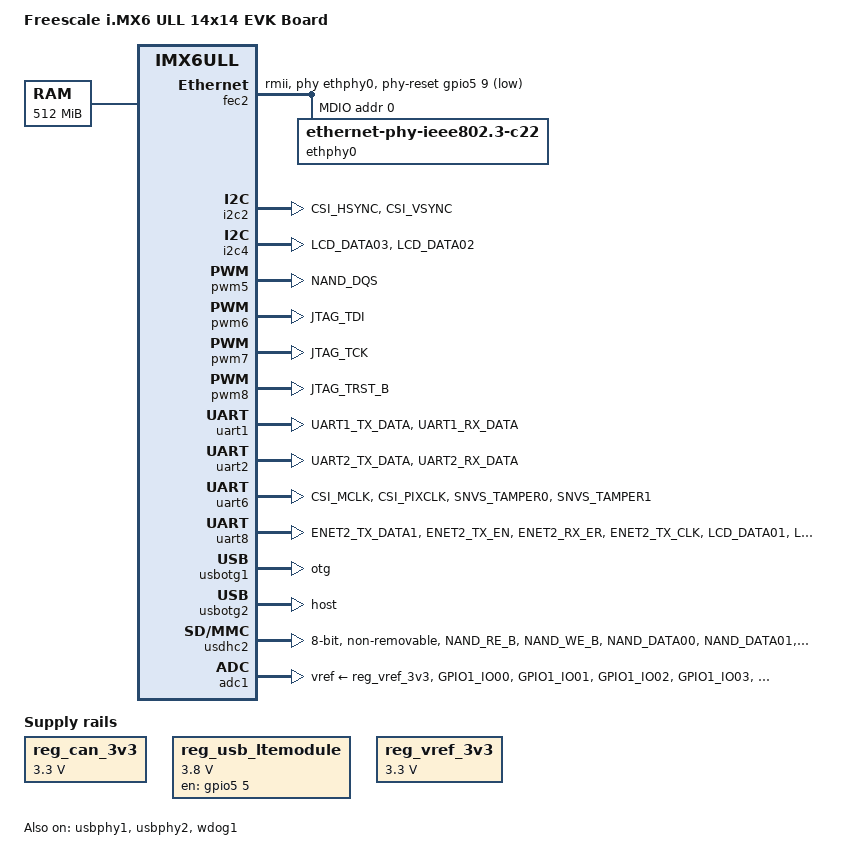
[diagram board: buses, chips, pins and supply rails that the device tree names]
// SPDX-License-Identifier: (GPL-2.0 OR MIT)
//
// Copyright (C) 2016 Freescale Semiconductor, Inc.


/dts-v1/;

#include "imx6ull.dtsi"

/ {
	model = "Freescale i.MX6 ULL 14x14 EVK Board";
	compatible = "fsl,imx6ull-14x14-evk", "fsl,imx6ull";

	chosen {
		stdout-path = &uart1;
	};

	memory {
		reg = <0x80000000 0x20000000>;   /* 512M */
	};

	reserved-memory {
		#address-cells = <1>;
		#size-cells = <1>;
		ranges;

		linux,cma {
			compatible = "shared-dma-pool";
			reusable;
			size = <0x14000000>;
			linux,cma-default;
		};
	};

	regulators {
		compatible = "simple-bus";
		#address-cells = <1>;
		#size-cells = <0>;

		reg_can_3v3: regulator@0 {
			compatible = "regulator-fixed";
			reg = <0>;
			regulator-name = "can-3v3";
			regulator-min-microvolt = <3300000>;
			regulator-max-microvolt = <3300000>;
		};

		reg_usb_ltemodule: regulator@1 {
			compatible = "regulator-fixed";
			regulator-name = "ltemodule-pwr";
			regulator-min-microvolt = <3800000>;
			regulator-max-microvolt = <3800000>;
			gpios = <&gpio5 5 GPIO_ACTIVE_HIGH>;
			enable-active-high;
			regulator-boot-on;
		};

		reg_vref_3v3: regulator@3 {
			compatible = "regulator-fixed";
			regulator-name = "vref-3v3";
			regulator-min-microvolt = <3300000>;
			regulator-max-microvolt = <3300000>;
		};
	};
};

&cpu0 {
	clock-frequency = <900000000>;
	arm-supply = <&reg_arm>;
	soc-supply = <&reg_soc>;
};

&fec2 {
	pinctrl-names = "default";
	pinctrl-0 = <&pinctrl_enet1>;
	phy-mode = "rmii";
	phy-handle = <&ethphy0>;
	phy-reset-gpios = <&gpio5 9 GPIO_ACTIVE_LOW>;
	phy-reset-duration = <26>;
	status = "okay";

	mdio {
		#address-cells = <1>;
		#size-cells = <0>;

		ethphy0: ethernet-phy@0 {
			compatible = "ethernet-phy-ieee802.3-c22";
			smsc,disable-energy-detect;
			reg = <0>;
		};

	};
};


&gpc {
	fsl,cpu_pupscr_sw2iso = <0x1>;
	fsl,cpu_pupscr_sw = <0x0>;
	fsl,cpu_pdnscr_iso2sw = <0x1>;
	fsl,cpu_pdnscr_iso = <0x1>;
	fsl,ldo-bypass = <0>; /* DCDC, ldo-enable */
};

&i2c2 {
	clock_frequency = <100000>;
	pinctrl-names = "default";
	pinctrl-0 = <&pinctrl_i2c2>;
	status = "okay";
};

&i2c4 {
	clock_frequency = <100000>;
	pinctrl-names = "default";
	pinctrl-0 = <&pinctrl_i2c4>;
	status = "okay";
};

&iomuxc {
	pinctrl-names = "default";
	pinctrl-0 = <&pinctrl_hog_1>;
	imx6ul-evk { 
		pinctrl_adc1: adc1grp {
			fsl,pins = <
				MX6UL_PAD_GPIO1_IO00__GPIO1_IO00        0xb0
				MX6UL_PAD_GPIO1_IO01__GPIO1_IO01        0xb0
				MX6UL_PAD_GPIO1_IO02__GPIO1_IO02        0xb0
				MX6UL_PAD_GPIO1_IO03__GPIO1_IO03        0xb0
				MX6UL_PAD_GPIO1_IO04__GPIO1_IO04        0xb0
				MX6UL_PAD_GPIO1_IO05__GPIO1_IO05        0xb0
				MX6UL_PAD_GPIO1_IO08__GPIO1_IO08        0xb0
				MX6UL_PAD_GPIO1_IO09__GPIO1_IO09        0xb0
			>;
		};

		pinctrl_hog_1: hoggrp-1 {
			fsl,pins = <
		        MX6UL_PAD_CSI_DATA01__GPIO4_IO22          0xC0000000
				MX6UL_PAD_CSI_DATA03__GPIO4_IO24          0xC0000000
				MX6UL_PAD_CSI_DATA04__GPIO4_IO25          0xC0000000
				MX6UL_PAD_CSI_DATA05__GPIO4_IO26          0xC0000000
				MX6UL_PAD_CSI_DATA06__GPIO4_IO27          0xC0000000
				MX6UL_PAD_CSI_DATA07__GPIO4_IO28          0xC0000000
				MX6UL_PAD_ENET2_RX_DATA1__GPIO2_IO09      0xC0000000
				MX6UL_PAD_ENET2_RX_EN__GPIO2_IO10         0xC0000000
				MX6UL_PAD_ENET2_TX_DATA0__GPIO2_IO11      0xC0000000
				MX6UL_PAD_LCD_CLK__GPIO3_IO00             0xC0000000
				MX6UL_PAD_LCD_ENABLE__GPIO3_IO01          0xC0000000
				MX6UL_PAD_SD1_CLK__GPIO2_IO17             0xC0000000
				MX6UL_PAD_SD1_CMD__GPIO2_IO16             0xC0000000
				MX6UL_PAD_SD1_DATA0__GPIO2_IO18           0xC0000000
				MX6UL_PAD_SD1_DATA1__GPIO2_IO19           0xC0000000
				MX6UL_PAD_UART1_CTS_B__GPIO1_IO18         0xC0000000
				MX6UL_PAD_UART1_RTS_B__GPIO1_IO19         0xC0000000
				MX6UL_PAD_UART2_CTS_B__GPIO1_IO22         0xC0000000
				MX6UL_PAD_UART3_RX_DATA__GPIO1_IO25       0xC0000000
				MX6UL_PAD_UART3_TX_DATA__GPIO1_IO24       0xC0000000
				MX6UL_PAD_UART4_RX_DATA__GPIO1_IO29       0xC0000000
				MX6UL_PAD_UART4_TX_DATA__GPIO1_IO28       0xC0000000
				MX6UL_PAD_UART5_RX_DATA__GPIO1_IO31       0xC0000000
				MX6UL_PAD_UART5_TX_DATA__GPIO1_IO30       0xC0000000
				MX6UL_PAD_SNVS_TAMPER2__GPIO5_IO02        0x000110A0
                MX6UL_PAD_SNVS_TAMPER3__GPIO5_IO03        0x000110A0
 			>;
		};

		pinctrl_csi1: csi1grp {
			fsl,pins = <
				MX6UL_PAD_CSI_MCLK__CSI_MCLK		0x1b088
				MX6UL_PAD_CSI_PIXCLK__CSI_PIXCLK	0x1b088
				MX6UL_PAD_CSI_VSYNC__CSI_VSYNC		0x1b088
				MX6UL_PAD_CSI_HSYNC__CSI_HSYNC		0x1b088
				MX6UL_PAD_CSI_DATA00__CSI_DATA02	0x1b088
				MX6UL_PAD_CSI_DATA01__CSI_DATA03	0x1b088
				MX6UL_PAD_CSI_DATA02__CSI_DATA04	0x1b088
				MX6UL_PAD_CSI_DATA03__CSI_DATA05	0x1b088
				MX6UL_PAD_CSI_DATA04__CSI_DATA06	0x1b088
				MX6UL_PAD_CSI_DATA05__CSI_DATA07	0x1b088
				MX6UL_PAD_CSI_DATA06__CSI_DATA08	0x1b088
				MX6UL_PAD_CSI_DATA07__CSI_DATA09	0x1b088
			>;
		};

		pinctrl_enet2: enet2grp {
			fsl,pins = <
				MX6UL_PAD_ENET2_RX_EN__ENET2_RX_EN	0x1b0b0
				MX6UL_PAD_ENET2_RX_ER__ENET2_RX_ER	0x1b0b0
				MX6UL_PAD_ENET2_RX_DATA0__ENET2_RDATA00	0x1b0b0
				MX6UL_PAD_ENET2_RX_DATA1__ENET2_RDATA01	0x1b0b0
				MX6UL_PAD_ENET2_TX_EN__ENET2_TX_EN	0x1b0b0
				MX6UL_PAD_ENET2_TX_DATA0__ENET2_TDATA00	0x1b0b0
				MX6UL_PAD_ENET2_TX_DATA1__ENET2_TDATA01	0x1b0b0
				MX6UL_PAD_ENET2_TX_CLK__ENET2_REF_CLK1	0x4001b031
			>;
		};

		pinctrl_i2c2: i2c2grp {
			fsl,pins = <
				MX6UL_PAD_CSI_HSYNC__I2C2_SCL 0x4001b8b0
				MX6UL_PAD_CSI_VSYNC__I2C2_SDA 0x4001b8b0
			>;
		};

		pinctrl_i2c4: i2c4grp {               /* /dev/i3c-3  for LIS3DHTR*/
			fsl,pins = <
				MX6UL_PAD_LCD_DATA03__I2C4_SCL 0x4001b8b0	/*myir pin:90*/
				MX6UL_PAD_LCD_DATA02__I2C4_SDA 0x4001b8b0    /*myir pin:89*/
			>;
		};

		pinctrl_pwm5: pwm5grp {
			fsl,pins = <
				MX6UL_PAD_NAND_DQS__PWM5_OUT   0x110b0
			>;
		};
		pinctrl_pwm6: pwm6grp {
			fsl,pins = <
				MX6UL_PAD_JTAG_TDI__PWM6_OUT   0x110b0
			>;
		};
		pinctrl_pwm7: pwm7grp {
			fsl,pins = <
				MX6UL_PAD_JTAG_TCK__PWM7_OUT   0x110b0
			>;
		};
		pinctrl_pwm8: pwm8grp {
			fsl,pins = <
				MX6UL_PAD_JTAG_TRST_B__PWM8_OUT   0x110b0
			>;
		};

		pinctrl_qspi: qspigrp {
			fsl,pins = <
				MX6UL_PAD_NAND_WP_B__QSPI_A_SCLK      0x70a1
				MX6UL_PAD_NAND_READY_B__QSPI_A_DATA00 0x70a1
				MX6UL_PAD_NAND_CE0_B__QSPI_A_DATA01   0x70a1
				MX6UL_PAD_NAND_CE1_B__QSPI_A_DATA02   0x70a1
				MX6UL_PAD_NAND_CLE__QSPI_A_DATA03     0x70a1
				MX6UL_PAD_NAND_DQS__QSPI_A_SS0_B      0x70a1
			>;
		};

		pinctrl_uart1: uart1grp {
			fsl,pins = <
				MX6UL_PAD_UART1_TX_DATA__UART1_DCE_TX 0x1b0b1
				MX6UL_PAD_UART1_RX_DATA__UART1_DCE_RX 0x1b0b1
			>;
		};

		pinctrl_uart2: uart2grp {
			fsl,pins = <
				MX6UL_PAD_UART2_TX_DATA__UART2_DCE_TX	0x1b0b1
				MX6UL_PAD_UART2_RX_DATA__UART2_DCE_RX	0x1b0b1
			>;
		};

		pinctrl_flexcan1: flexcan1grp{
			fsl,pins = <
				MX6UL_PAD_UART3_RTS_B__FLEXCAN1_RX	0x1b020   /*myir pin: 62*/
				MX6UL_PAD_UART3_CTS_B__FLEXCAN1_TX	0x1b020   /*myir pin: 63*/
			>;
		};

		pinctrl_flexcan2: flexcan2grp{
			fsl,pins = <
				MX6UL_PAD_SD1_DATA3__FLEXCAN2_RX	0x1b020   	/*myir pin: 122*/
				MX6UL_PAD_SD1_DATA2__FLEXCAN2_TX	0x1b020	/*myir pin: 123*/
			>;
		};

		pinctrl_uart6: uart6grp {
			fsl,pins = <
				MX6UL_PAD_CSI_MCLK__UART6_DCE_TX 	0x1b0b1  	/*CSI_MCLK: myir pin 140*/
				MX6UL_PAD_CSI_PIXCLK__UART6_DCE_RX 	0x1b0b1  	/*CSI_PIXCLK: myir pin 139*/
				MX6UL_PAD_SNVS_TAMPER0__GPIO5_IO00 	0x1b0b1	/*GSM ON:myir pin 15*/
				MX6UL_PAD_SNVS_TAMPER1__GPIO5_IO01 	0x1b0b1	/*GSM RST:myir pin 14*/
			>;
		};

		pinctrl_uart8: uart8grp {
			fsl,pins = <
				MX6UL_PAD_ENET2_TX_DATA1__UART8_DCE_TX 0x1b0b1  /*ENET2_TXD1: myir pin 84*/
				MX6UL_PAD_ENET2_TX_EN__UART8_DCE_RX 0x1b0b1  /*ENET2_TXEN: myir pin 83*/

				MX6UL_PAD_ENET2_RX_ER__UART8_DCE_RTS 0x1b0b1      /*ENET2_RXER: myir pin 81*/
				MX6UL_PAD_ENET2_TX_CLK__UART8_DCE_CTS 0x1b0b1  /*ENET2_TX_CLK:  myir pin 78*/

				MX6UL_PAD_LCD_DATA01__GPIO3_IO06 0x1b0b1   /* WIFI reset: LCD_DATA1: gpio3.6: myir pin 88*/
				MX6UL_PAD_LCD_DATA00__GPIO3_IO05 0x1b0b1   /* WIFI reload:LCD_DATA0: gpio3.5 : myir pin 87*/
			>;
		};

		pinctrl_uart2dte: uart2dtegrp {
			fsl,pins = <
				MX6UL_PAD_UART2_TX_DATA__UART2_DTE_RX	0x1b0b1
				MX6UL_PAD_UART2_RX_DATA__UART2_DTE_TX	0x1b0b1
				MX6UL_PAD_UART3_RX_DATA__UART2_DTE_CTS	0x1b0b1
				MX6UL_PAD_UART3_TX_DATA__UART2_DTE_RTS	0x1b0b1
			>;
		};

		pinctrl_usdhc2: usdhc2grp {
			fsl,pins = <
				MX6UL_PAD_NAND_RE_B__USDHC2_CLK     0x10069
				MX6UL_PAD_NAND_WE_B__USDHC2_CMD     0x17059
				MX6UL_PAD_NAND_DATA00__USDHC2_DATA0 0x17059
				MX6UL_PAD_NAND_DATA01__USDHC2_DATA1 0x17059
				MX6UL_PAD_NAND_DATA02__USDHC2_DATA2 0x17059
				MX6UL_PAD_NAND_DATA03__USDHC2_DATA3 0x17059
			>;
		};

		pinctrl_usdhc2_8bit: usdhc2grp_8bit {
			fsl,pins = <
				MX6UL_PAD_NAND_RE_B__USDHC2_CLK     0x10069
				MX6UL_PAD_NAND_WE_B__USDHC2_CMD     0x17059
				MX6UL_PAD_NAND_DATA00__USDHC2_DATA0 0x17059
				MX6UL_PAD_NAND_DATA01__USDHC2_DATA1 0x17059
				MX6UL_PAD_NAND_DATA02__USDHC2_DATA2 0x17059
				MX6UL_PAD_NAND_DATA03__USDHC2_DATA3 0x17059
				MX6UL_PAD_NAND_DATA04__USDHC2_DATA4 0x17059
				MX6UL_PAD_NAND_DATA05__USDHC2_DATA5 0x17059
				MX6UL_PAD_NAND_DATA06__USDHC2_DATA6 0x17059
				MX6UL_PAD_NAND_DATA07__USDHC2_DATA7 0x17059
			>;
		};

		pinctrl_usdhc2_8bit_100mhz: usdhc2grp_8bit_100mhz {
			fsl,pins = <
				MX6UL_PAD_NAND_RE_B__USDHC2_CLK     0x100b9
				MX6UL_PAD_NAND_WE_B__USDHC2_CMD     0x170b9
				MX6UL_PAD_NAND_DATA00__USDHC2_DATA0 0x170b9
				MX6UL_PAD_NAND_DATA01__USDHC2_DATA1 0x170b9
				MX6UL_PAD_NAND_DATA02__USDHC2_DATA2 0x170b9
				MX6UL_PAD_NAND_DATA03__USDHC2_DATA3 0x170b9
				MX6UL_PAD_NAND_DATA04__USDHC2_DATA4 0x170b9
				MX6UL_PAD_NAND_DATA05__USDHC2_DATA5 0x170b9
				MX6UL_PAD_NAND_DATA06__USDHC2_DATA6 0x170b9
				MX6UL_PAD_NAND_DATA07__USDHC2_DATA7 0x170b9
			>;
		};

		pinctrl_usdhc2_8bit_200mhz: usdhc2grp_8bit_200mhz {
			fsl,pins = <
				MX6UL_PAD_NAND_RE_B__USDHC2_CLK     0x100f9
				MX6UL_PAD_NAND_WE_B__USDHC2_CMD     0x170f9
				MX6UL_PAD_NAND_DATA00__USDHC2_DATA0 0x170f9
				MX6UL_PAD_NAND_DATA01__USDHC2_DATA1 0x170f9
				MX6UL_PAD_NAND_DATA02__USDHC2_DATA2 0x170f9
				MX6UL_PAD_NAND_DATA03__USDHC2_DATA3 0x170f9
				MX6UL_PAD_NAND_DATA04__USDHC2_DATA4 0x170f9
				MX6UL_PAD_NAND_DATA05__USDHC2_DATA5 0x170f9
				MX6UL_PAD_NAND_DATA06__USDHC2_DATA6 0x170f9
				MX6UL_PAD_NAND_DATA07__USDHC2_DATA7 0x170f9
			>;
		};
	};
};

&iomuxc_snvs {
	pinctrl-names = "default_snvs";
	pinctrl-0 = <&pinctrl_hog_2>;
	imx6ul-evk {
		pinctrl_hog_2: hoggrp-2 {
			fsl,pins = <
				MX6ULL_PAD_SNVS_TAMPER0__GPIO5_IO00     0x80000000
				MX6ULL_PAD_SNVS_TAMPER9__GPIO5_IO09     0x1b0b0 /* enet1 reset */
				MX6ULL_PAD_SNVS_TAMPER7__GPIO5_IO07     0x1b0b0 /* LTE module WakeOut */
				MX6ULL_PAD_SNVS_TAMPER6__GPIO5_IO06     0x1b0b0 /* enet2 reset */
				MX6ULL_PAD_SNVS_TAMPER5__GPIO5_IO05     0x1b8b0 /* LTE module power */
				MX6ULL_PAD_SNVS_TAMPER3__GPIO5_IO03     0x1b0b0 /* Camera RST */
				MX6ULL_PAD_SNVS_TAMPER4__GPIO5_IO04     0x1b0b0 /* Camera PWRDN */
				MX6ULL_PAD_SNVS_TAMPER2__GPIO5_IO02     0x1b0b0 /* TP Reset */
			>;
		};

		pinctrl_spi4: spi4grp {
			fsl,pins = <
				MX6ULL_PAD_BOOT_MODE0__GPIO5_IO10        0x70a1
				MX6ULL_PAD_BOOT_MODE1__GPIO5_IO11        0x70a1
				MX6ULL_PAD_SNVS_TAMPER7__GPIO5_IO07      0x70a1
				MX6ULL_PAD_SNVS_TAMPER8__GPIO5_IO08      0x80000000
			>;
		};

		pinctrl_leds: ledgrp {
			fsl,pins = <
				MX6ULL_PAD_SNVS_TAMPER1__GPIO5_IO01 0x1b0b0
			>;
		};

		pinctrl_gpio_key: keygrp {
			fsl,pins = <
				MX6ULL_PAD_SNVS_TAMPER0__GPIO5_IO00 0x1b0b0
			>;
		};
	};
};

&pwm5 {
	pinctrl-names = "default";
	pinctrl-0 = <&pinctrl_pwm5>;
	status = "okay";
};

&pwm6 {
	pinctrl-names = "default";
	pinctrl-0 = <&pinctrl_pwm6>;
	status = "okay";
};

&pwm7 {
	pinctrl-names = "default";
	pinctrl-0 = <&pinctrl_pwm7>;
	status = "okay";
};

&pwm8 {
	pinctrl-names = "default";
	pinctrl-0 = <&pinctrl_pwm8>;
	status = "okay";
};

&uart1 {
	pinctrl-names = "default";
	pinctrl-0 = <&pinctrl_uart1>;
	status = "okay";
};


&uart2 {
	pinctrl-names = "default";
	pinctrl-0 = <&pinctrl_uart2>;
	status = "okay";
};

&uart6 {
	pinctrl-names = "default";
	pinctrl-0 = <&pinctrl_uart6>;
	status = "okay";
};

&uart8 {
	pinctrl-names = "default";
	pinctrl-0 = <&pinctrl_uart8>;
	status = "okay";
};

&usbotg1 {
	dr_mode = "otg";
	srp-disable;
	hnp-disable;
	adp-disable;
	status = "okay";
};

&usbotg2 {
	dr_mode = "host";
	disable-over-current;
	status = "okay";
};

&usbphy1 {
	tx-d-cal = <0x5>;
	status = "okay";
};

&usbphy2 {
	tx-d-cal = <0x5>;
	status = "okay";
};

&wdog1 {
	status = "okay";
};

&gpmi {
	status = "disabled";
};

&usdhc2 {
	pinctrl-names = "default";
	pinctrl-0 = <&pinctrl_usdhc2_8bit>;
	bus-width = <8>;
	non-removable;
	status = "okay";
};

&adc1 {
	pinctrl-names = "default";
	pinctrl-0 = <&pinctrl_adc1>;
	vref-supply = <&reg_vref_3v3>;
	num-channels = <9>; 
	status = "okay";
};

&clks {
	assigned-clocks = <&clks IMX6UL_CLK_PLL3_PFD2>;
	assigned-clock-rates = <320000000>;
};
